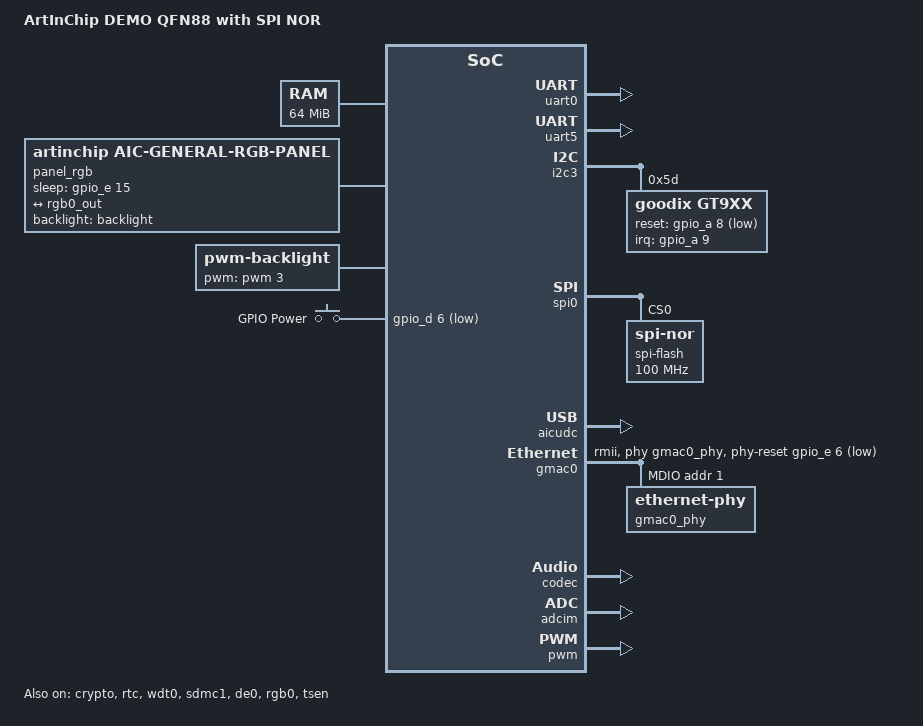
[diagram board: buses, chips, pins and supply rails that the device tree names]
/*
 * Copyright (C) 2020-2022 ArtInChip Technology Co., Ltd.
 *
 * This file is dual-licensed: you can use it either under the terms
 * of the GPL or the X11 license, at your option. Note that this dual
 * licensing only applies to this file, and not this project as a
 * whole.
 *
 *  a) This file is free software; you can redistribute it and/or
 *     modify it under the terms of the GNU General Public License as
 *     published by the Free Software Foundation; either version 2 of the
 *     License, or (at your option) any later version.
 *
 *     This file is distributed in the hope that it will be useful,
 *     but WITHOUT ANY WARRANTY; without even the implied warranty of
 *     MERCHANTABILITY or FITNESS FOR A PARTICULAR PURPOSE.  See the
 *     GNU General Public License for more details.
 *
 * Or, alternatively,
 *
 *  b) Permission is hereby granted, free of charge, to any person
 *     obtaining a copy of this software and associated documentation
 *     files (the "Software"), to deal in the Software without
 *     restriction, including without limitation the rights to use,
 *     copy, modify, merge, publish, distribute, sublicense, and/or
 *     sell copies of the Software, and to permit persons to whom the
 *     Software is furnished to do so, subject to the following
 *     conditions:
 *
 *     The above copyright notice and this permission notice shall be
 *     included in all copies or substantial portions of the Software.
 *
 *     THE SOFTWARE IS PROVIDED "AS IS", WITHOUT WARRANTY OF ANY KIND,
 *     EXPRESS OR IMPLIED, INCLUDING BUT NOT LIMITED TO THE WARRANTIES
 *     OF MERCHANTABILITY, FITNESS FOR A PARTICULAR PURPOSE AND
 *     NONINFRINGEMENT. IN NO EVENT SHALL THE AUTHORS OR COPYRIGHT
 *     HOLDERS BE LIABLE FOR ANY CLAIM, DAMAGES OR OTHER LIABILITY,
 *     WHETHER IN AN ACTION OF CONTRACT, TORT OR OTHERWISE, ARISING
 *     FROM, OUT OF OR IN CONNECTION WITH THE SOFTWARE OR THE USE OR
 *     OTHER DEALINGS IN THE SOFTWARE.
 */

/dts-v1/;
#include "d211.dtsi"
#include "d211-pinctrl.dtsi"
#include <dt-bindings/display/artinchip,aic-disp.h>
#include <dt-bindings/gpio/gpio.h>
#include <dt-bindings/pwm/pwm.h>
#include <dt-bindings/input/input.h>
#include <dt-bindings/input/linux-event-codes.h>

/ {
	model = "ArtInChip DEMO QFN88 with SPI NOR";
	compatible = "artinchip,d211";
	package = "QFN88";

	aliases {
		gpio0 = &gpio_a;
		gpio1 = &gpio_b;
		gpio2 = &gpio_c;
		gpio3 = &gpio_d;
		gpio4 = &gpio_e;
		gpio5 = &gpio_f;
		pinctrl = &pinctrl;
		serial0 = &uart0;
		serial1 = &uart1;
		serial2 = &uart2;
		serial3 = &uart3;
		serial4 = &uart4;
		serial5 = &uart5;
		serial6 = &uart6;
		serial7 = &uart7;
		i2c0 = &i2c0;
		i2c1 = &i2c1;
		i2c2 = &i2c2;
		i2c3 = &i2c3;
		can0 = &can0;
		can1 = &can1;
		spi0 = &spi0;
		spi1 = &spi1;
		spi2 = &spi2;
		spi3 = &spi3;
		gmac0 = &gmac0;
		gmac1 = &gmac1;
		rtc = &rtc;
		wdt0 = &wdt0;
		fb0 = &fb0;
		de0 = &de0;
		lvds0 = &lvds0;
		rgb0 = &rgb0;
		dbi0 = &dbi0;
		dsi0 = &dsi0;
		dvp0 = &dvp0;
		cir = &cir;
		adcim = &adcim;
		gpai = &gpai;
		rtp = &rtp;
		tsen = &tsen;
		pwm = &pwm;
		sdmc0 = &sdmc0;
		sdmc1 = &sdmc1;
		sdmc2 = &sdmc2;
		dma = &dma;
		crypto = &crypto;
		sid = &sid;
		mtop = &mtop;
		codec = &codec;
		wri = &wri;
		aicudc = &aicudc;
		usbh0 = &usbh0;
		usbh1 = &usbh1;
		ohci0 = &ohci0;
		ohci1 = &ohci1;
		i2s0 = &i2s0;
		i2s1 = &i2s1;
		ge = &ge;
	};

	chosen {
		/* The value of stdout-path will be use by SPL/OpenSBI/U-Boot,
		 * and Kernel.
		 */
		stdout-path = "serial0:115200n8";

		/* The value of "bootargs" here only be used in JTAG download and
		 * run kenrel case.
		 * In normal case which run kenrel by u-boot, the "bootargs" value
		 * will be updated by u-boot.
		 */
		bootargs = "rdinit=/init earlycon=sbi loglevel=7";
		reset-after-fw-burn;
	};
	config {
	};

	cpus {
		u-boot,dm-pre-reloc;
		cpu0: cpu@0 {
			u-boot,dm-pre-reloc;
		};
	};

	clocks {
		u-boot,dm-pre-reloc;
	};

	soc {
		u-boot,dm-pre-reloc;
	};

	timer {
		u-boot,dm-pre-reloc;
	};

	memory@40000000 {
		device_type = "memory";
		reg = <0x0 0x40000000 0x0 0x4000000>;
		u-boot,dm-pre-reloc;
	};

	/* Reserved 1M memory for aic ramdump
	   When enable CONFIG_AIC_RAMDUMP in linux kernel, also must enable below node.
	*/
	reserved-memory {
		#address-cells = <2>;
		#size-cells = <2>;
		ranges;

	#if 0
		aic_ramdump_buf {
			compatible = "artinchip,aic-ramdump";
			no-map;
			reg = <0x43f00000 0x100000>;
		};
	#endif
		};
#if 0
	syspower {
		compatible = "artinchip,aic-power";
		power-gpios = <&gpio_e 13 GPIO_ACTIVE_HIGH>;
	};
#endif

	panel_rgb {
		compatible = "artinchip,aic-general-rgb-panel";
		status = "okay";
		u-boot,dm-pre-reloc;

		sleep-gpios = <&gpio_e 15 GPIO_ACTIVE_HIGH>;
		rgb-mode = <PRGB>;
		interface-format = <PRGB_16BIT_LD>;
		clock-phase = <DEGREE_0>;
		data-order = <RGB>;
		disp-dither = <DITHER_RGB565>;
		backlight = <&backlight>;

		port {
			u-boot,dm-pre-reloc;
			panel_rgb_in: endpoint {
				remote-endpoint = <&rgb0_out>;
				u-boot,dm-pre-reloc;
			};
		};

		display-timings {
			native-mode = <&timing0>;
			u-boot,dm-pre-reloc;
			timing0: 1024x600 {
				clock-frequency = <52000000>;
				hactive = <1024>;
				vactive = <600>;
				hback-porch = <160>;
				hfront-porch = <160>;
				hsync-len = <20>;
				vback-porch = <12>;
				vfront-porch = <20>;
				vsync-len = <3>;
				de-active = <1>;
				pixelclk-active = <1>;
				u-boot,dm-pre-reloc;
			};
		};
	};

	panel_dbi {
		compatible = "artinchip,aic-dbi-panel-simple";
		status = "disabled";
		u-boot,dm-pre-reloc;

		port {
			u-boot,dm-pre-reloc;
			panel_dbi_in: endpoint {
				remote-endpoint = <&dbi0_out>;
				u-boot,dm-pre-reloc;
			};
		};
	};

	backlight: backlight {
		compatible = "pwm-backlight";
		/* pwm node name; pwm device No.; period_ns; pwm_polarity */
		pwms = <&pwm 3 1000000 0>;
		brightness-levels = <0 10 20 30 40 50 60 70 80 90 100>;
		default-brightness-level = <6>;
		status = "okay";
		u-boot,dm-pre-reloc;
	};

    keys: gpio-keys {
        compatible = "gpio-keys";

        power {
            wakeup-source;
            gpios = <&gpio_d 6 (GPIO_ACTIVE_LOW | GPIO_PULL_UP)>;
            label = "GPIO Power";
            linux,code = <KEY_POWER>;
        };
    };
};

&crypto {
	status = "okay";
};

&cmu {
	pll-int0 = <600000000>;
	pll-int1 = <1200000000>;
	pll-frac1 = <491520000>;
	pll-frac2 = <840000000>;
	axi0 = <240000000>;
	ahb0 = <240000000>;
	apb0 = <100000000>;
	apb1 = <24000000>;
	clk-out0 = <25000000>;
	clk-out1 = <25000000>;
	clk-out2 = <25000000>;
	clk-out3 = <25000000>;
	// clk-out0-enable;
	// clk-out1-enable;
	/* Enable clock out2 */
	clk-out2-enable;
	// clk-out3-enable;
	u-boot,dm-pre-reloc;
};

&rst {
	u-boot,dm-pre-reloc;
};

&osc24m {
	u-boot,dm-pre-reloc;
};

&rc1m {
	u-boot,dm-pre-reloc;
};

&osc32k {
	u-boot,dm-pre-reloc;
};

&rtc {
	aic,alarm-io-output;
	status = "okay";
};

&wdt0 {
	timeout-sec = <16>;
	status = "okay";
};

&uart0 {
	pinctrl-names = "default";
	pinctrl-0 = <&uart0_pins_a>;
	status = "okay";
	u-boot,dm-pre-reloc;
};

&uart1 {
	pinctrl-names = "default";
	pinctrl-0 = <&uart1_pins_a>;
	status = "disabled";
};

&uart2 {
	pinctrl-names = "default";
	pinctrl-0 = <&uart2_pins_a>;
	status = "disabled";
};

&uart3 {
	pinctrl-names = "default";
	pinctrl-0 = <&uart3_pins_c>;
	status = "disabled";
};

&uart4 {
	pinctrl-names = "default";
	pinctrl-0 = <&uart4_pins_a>;
	status = "disabled";
};

&uart5 {
	pinctrl-names = "default";
	pinctrl-0 = <&uart5_pins_a>;
	linux,rs485-enabled-at-boot-time;
	aic,rs485-compact-io-mode;
	status = "okay";
};

&uart6 {
	pinctrl-names = "default";
	pinctrl-0 = <&uart6_pins_a>;
	status = "disabled";
};

&uart7 {
	pinctrl-names = "default";
	pinctrl-0 = <&uart7_pins_a>;
	status = "disabled";
};

&i2c0 {
	pinctrl-names = "default";
	pinctrl-0 = <&i2c0_pins_b>;
	status = "disabled";
	rtc@32 {
		compatible = "epson,rx8010";
		reg = <0x32>;
	};
};

&i2c1 {
	pinctrl-names = "default";
	pinctrl-0 = <&i2c1_pins_a>;
	status = "disabled";
};

&i2c2 {
	pinctrl-names = "default";
	pinctrl-0 = <&i2c2_pins_a>;
	status = "disabled";
};

&i2c3 {
	pinctrl-names = "default";
	pinctrl-0 = <&i2c3_pins_a>;
	status = "okay";

	gt9xx@5d {
		status = "okay";
		compatible = "goodix,gt9xx";
		reg = <0x5d>;
		reset-gpios = <&gpio_a 8 GPIO_ACTIVE_LOW>;
		irq-gpios = <&gpio_a 9 GPIO_ACTIVE_HIGH>;
		irq-flags = <2>;

		touchscreen-max-id = <11>;
		touchscreen-size-x = <1024>;
		touchscreen-size-y = <600>;
		touchscreen-max-w = <512>;
		touchscreen-max-p = <512>;

		goodix,int-sync = <1>;
	};
};

&dma {
	u-boot,dm-pre-reloc;
};

&spi0 {
	pinctrl-names = "default";
	pinctrl-0 = <&spi0_pins_a>;
	status = "okay";
	spi-max-frequency = <100000000>;
	u-boot,dm-pre-reloc;
	spi-flash@0 {
		#address-cells = <1>;
		#size-cells = <1>;
		compatible = "jedec,spi-nor";
		spi-max-frequency = <100000000>;
		spi-tx-bus-width = <4>;
		spi-rx-bus-width = <4>;
		reg = <0>;
		// aic,encrypt;
		// aic,spi-id = <0>;
		status = "okay";
		u-boot,dm-pre-reloc;
	};
};

&spi1 {
	pinctrl-names = "default";
	pinctrl-0 = <&spi1_pins_a>;
	status = "disabled";
};

&spi2 {
	pinctrl-names = "default";
	pinctrl-0 = <&spi2_pins_a>;
	status = "disabled";
};

&spi3 {
	pinctrl-names = "default";
	pinctrl-0 = <&spi3_pins_a>;
	status = "disabled";
};

&sdmc0 {
	pinctrl-names = "default";
	pinctrl-0 = <&sdmc0_pins>;
	bus-width = <4>;
	cap-mmc-highspeed;
	status = "disabled";
};

&sdmc1 {
	pinctrl-names = "default";
	pinctrl-0 = <&sdmc1_pins>;
	bus-width = <4>;
	cap-sd-highspeed;
	status = "okay";
	u-boot,dm-pre-reloc;
};

&sdmc2 {
	pinctrl-names = "default";
	pinctrl-0 = <&sdmc2_pins>;
	status = "disabled";
};

/* case 1: USB0 = OTG Enable */
#if 0
&otg {
	dp-sw-gpios = <&gpio_e 14 GPIO_ACTIVE_LOW>;
	otg-mode = "device";
	status = "okay";
};

&aicudc {
	pinctrl-names = "default";
	pinctrl-0 = <&usb0_pins_a>;
	status = "okay";
};

&usbh0 {
	aic,usb-ext-resistance = <0x40>;
	status = "okay";
};

&ohci0 {
	status = "okay";
};

/* case 2: USB0 = OTG Disable */
#else

&otg {
	status = "disabled";
};

/* case 2.1: USB0 = Device */
#if 1
&aicudc {
	pinctrl-names = "default";
	pinctrl-0 = <&usb0_pins_a>;
	status = "okay";
};

&usbh0 {
	aic,usb-ext-resistance = <0x40>;
	status = "disabled";
};
&ohci0 {
	status = "disabled";
};

/* case 2.2: USB0 = Host */
#else
&aicudc {
	aic,only-uboot-use;
	status = "okay";
};

&usbh0 {
	pinctrl-names = "default";
	pinctrl-0 = <&usb0_pins_a>;
	artinchip,sw_usb_phy0;
	aic,usb-ext-resistance = <0x40>;
	status = "okay";
};
&ohci0 {
	status = "okay";
};
#endif
#endif

&pinctrl {
	u-boot,dm-pre-reloc;
	gmac0_local_pins: gmac0-2 {
		pins {
			pinmux = <AIC_PINMUX('E', 0, 6)>,
				 <AIC_PINMUX('E', 1, 6)>,
				 <AIC_PINMUX('E', 2, 6)>,
				 <AIC_PINMUX('E', 3, 6)>,
				 <AIC_PINMUX('E', 4, 6)>,
				 <AIC_PINMUX('E', 5, 6)>,
				 <AIC_PINMUX('E', 7, 6)>,
				 <AIC_PINMUX('E', 8, 6)>,
				 <AIC_PINMUX('E', 9, 6)>;
			bias-disable;
			drive-strength = <3>;
		};
	};

	pwm3_pins_d: pwm3-3 {
		pins {
			pinmux = <AIC_PINMUX('E', 19, 5)>;
			bias-disable;
			drive-strength = <3>;
		};
	};

	spk_pins_d: spk-3 {
		pins {
			pinmux = <AIC_PINMUX('E', 11, 4)>;
			bias-disable;
			drive-strength = <3>;
		};
	};
	gpio_a: bank-0 {
		u-boot,dm-pre-reloc;
	};
	gpio_b: bank-1 {
		u-boot,dm-pre-reloc;
	};
	gpio_c: bank-2 {
		u-boot,dm-pre-reloc;
	};
	gpio_d: bank-3 {
		u-boot,dm-pre-reloc;
	};
	gpio_e: bank-4 {
		u-boot,dm-pre-reloc;
	};
	gpio_f: bank-5 {
		u-boot,dm-pre-reloc;
	};
	lcd_rgb565_ld_pins: lcd-4 {
		u-boot,dm-pre-reloc;
		pins {
			u-boot,dm-pre-reloc;
		};
	};
	pwm3_pins_d: pwm3-3 {
		u-boot,dm-pre-reloc;
		pins {
			u-boot,dm-pre-reloc;
		};
	};
	uart0_pins_a: uart0-0 {
		u-boot,dm-pre-reloc;
		pins1 {
			u-boot,dm-pre-reloc;
		};
		pins2 {
			u-boot,dm-pre-reloc;
		};
	};
	spi0_pins_a: spi0-0 {
		u-boot,dm-pre-reloc;
		pins {
			u-boot,dm-pre-reloc;
		};
	};
	sdmc1_pins: sdmc1-0 {
		u-boot,dm-pre-reloc;
		pins {
			u-boot,dm-pre-reloc;
		};
	};
};

&gmac0 {
	pinctrl-names = "default";
	pinctrl-0 = <&gmac0_local_pins>, <&clk_out2_pins_b>;
	phy-handle = <&gmac0_phy>;
	phy-reset-gpios = <&gpio_e 6 GPIO_ACTIVE_HIGH>;
	phy-addr = <1>;
	phy-mode = "rmii";
	max-speed = <100>;
	aic,use_extclk;


	status = "okay";

	gmac0_mdio: mdio {
		compatible = "aicmac-mdio";
		#address-cells = <1>;
		#size-cells = <0>;
		gmac0_phy: ethernet-phy@1 {
			reg = <1>;
		};
	};
};

&gmac1 {
	status = "disabled";
};

&codec {
	pinctrl-names = "default";
	pinctrl-0 = <&spk_pins_d>, <&dmic_pins_b>;
	pa-gpios = <&gpio_a 7 GPIO_ACTIVE_LOW>;
	status = "okay";
};

/* The data flow:
 * fb ---> de ----> lvds ----> panel
 *              |-> rgb  ->|
 *              '-> dsi  ->'
 */

&fb0 {
	artinchip,uboot-logo-on=<1>;
	height-virtual = <1200>;
	u-boot,dm-pre-reloc;
	port {
		u-boot,dm-pre-reloc;
		fb0_out: endpoint {
			remote-endpoint = <&de0_in>;
			u-boot,dm-pre-reloc;
		};
	};
};

&de0 {
	status = "okay";
	u-boot,dm-pre-reloc;

	port@0 {
		reg = <0>;
		u-boot,dm-pre-reloc;
		de0_in: endpoint {
			remote-endpoint = <&fb0_out>;
			u-boot,dm-pre-reloc;
		};
	};

	port@1 {
		reg = <1>;
		u-boot,dm-pre-reloc;
		de0_out: endpoint {
			remote-endpoint = <&rgb0_in>;
			u-boot,dm-pre-reloc;
		};
	};
};

&disp {
	u-boot,dm-pre-reloc;
};

&ve {
	u-boot,dm-pre-reloc;
};

&rgb0 {
	pinctrl-names = "default", "sleep";
	pinctrl-0 = <&lcd_rgb565_ld_pins>;
	pinctrl-1 = <&lcd_rgb565_ld_sleep_pins>;
	status = "okay";
	u-boot,dm-pre-reloc;

	port@0 {
		reg = <0>;
		u-boot,dm-pre-reloc;
		rgb0_in: endpoint {
			remote-endpoint = <&de0_out>;
			u-boot,dm-pre-reloc;
		};
	};

	port@1 {
		reg = <1>;
		u-boot,dm-pre-reloc;
		rgb0_out: endpoint {
			remote-endpoint = <&panel_rgb_in>;
			u-boot,dm-pre-reloc;
		};
	};
};

&dbi0 {
	pinctrl-names = "default";
	pinctrl-0 = <&lcd_pins>;
	u-boot,dm-pre-reloc;
	status = "disabled";

	port@0 {
		reg = <0>;
		u-boot,dm-pre-reloc;
		dbi0_in: endpoint {
			remote-endpoint = <&dbi0_in>;
			u-boot,dm-pre-reloc;
		};
	};

	port@1 {
		reg = <1>;
		u-boot,dm-pre-reloc;
		dbi0_out: endpoint {
			remote-endpoint = <&panel_dbi_in>;
			u-boot,dm-pre-reloc;
		};
	};
};

&cir {
	pinctrl-names = "default";
	pinctrl-0 = <&cir_pins_a>;
	rx-level = <1>;
	linux,rc-map-name = "rc-empty";
	status = "disabled";
};

&adcim {
	status = "okay";
};

&gpai {
	status = "disabled";
	pinctrl-names = "default";
	pinctrl-0 = <&gpai7_pins>;

	gpai0 {
		aic,sample-period-ms = <18>;
		aic,high-level-thd = <1830>;
		aic,low-level-thd = <1800>;
		status = "disabled";
	};

	gpai1 {
		status = "disabled";
	};

	gpai2 {
		status = "disabled";
	};

	gpai3 {
		status = "disabled";
	};

	gpai4 {
		status = "disabled";
	};

	gpai5 {
		status = "disabled";
	};

	gpai6 {
		status = "disabled";
	};

	gpai7 {
		status = "okay";
	};
};

&rtp {
	aic,max-pressure = <800>;
	aic,x-plate = <235>;
	pinctrl-names = "default";
	pinctrl-0 = <&rtp_pins>;
	status = "disabled";
};

&tsen {
	status = "okay";

	tsen0 {
		status = "okay";
	};

	tsen1 {
		status = "okay";
	};
};

&pwm {
	status = "okay";
	u-boot,dm-pre-reloc;
	pinctrl-names = "default";
	pinctrl-0 = <&pwm3_pins_d>;
	/* mode: up-count, down-count, up-down-count
	   action: none, low, high, inverse */
	pwm0 {
		aic,mode = "up-count";
		aic,tb-clk-rate = <24000000>;
		aic,rise-edge-delay = <10>;
		aic,fall-edge-delay = <10>;
		/*            CBD,    CBU,    CAD,    CAU,    PRD,   ZRO */
		aic,action0 = "none", "none", "none", "low", "none", "high";
		aic,action1 = "none", "none", "none", "high", "none", "low";
		status = "disabled";
		u-boot,dm-pre-reloc;
	};

	pwm1 {
		aic,mode = "down-count";
		aic,tb-clk-rate = <24000000>;
		aic,rise-edge-delay = <10>;
		aic,fall-edge-delay = <10>;
		/*            CBD,    CBU,    CAD,    CAU,    PRD,   ZRO */
		aic,action0 = "none", "none", "none", "low", "none", "high";
		aic,action1 = "none", "none", "none", "high", "none", "low";
		status = "disabled";
		u-boot,dm-pre-reloc;
	};

	pwm2 {
		aic,mode = "up-count";
		aic,tb-clk-rate = <24000000>;
		/*            CBD,    CBU,    CAD,    CAU,    PRD,   ZRO */
		aic,action0 = "none", "none", "none", "high", "low", "none";
		aic,action1 = "none", "none", "none", "low", "high", "none";
		aic,default-level = <0>;
		aic,rise-edge-delay = <10>;
		aic,fall-edge-delay = <10>;
		status = "okay";
		u-boot,dm-pre-reloc;
	};

	pwm3 {
		aic,mode = "up-count";
		aic,tb-clk-rate = <24000000>;
		/*            CBD,    CBU,    CAD,    CAU,    PRD,   ZRO */
		aic,action0 = "none", "none", "none", "low", "none", "high";
		aic,action1 = "none", "none", "none", "high", "none", "low";
		aic,rise-edge-delay = <10>;
		aic,fall-edge-delay = <10>;
		status = "okay";
		u-boot,dm-pre-reloc;
	};
};

&can0 {
       pinctrl-names = "default";
       pinctrl-0 = <&can0_pins_a>;
       status = "disabled";
};

&can1 {
       pinctrl-names = "default";
       pinctrl-0 = <&can1_pins_a>;
       status = "disabled";
};
